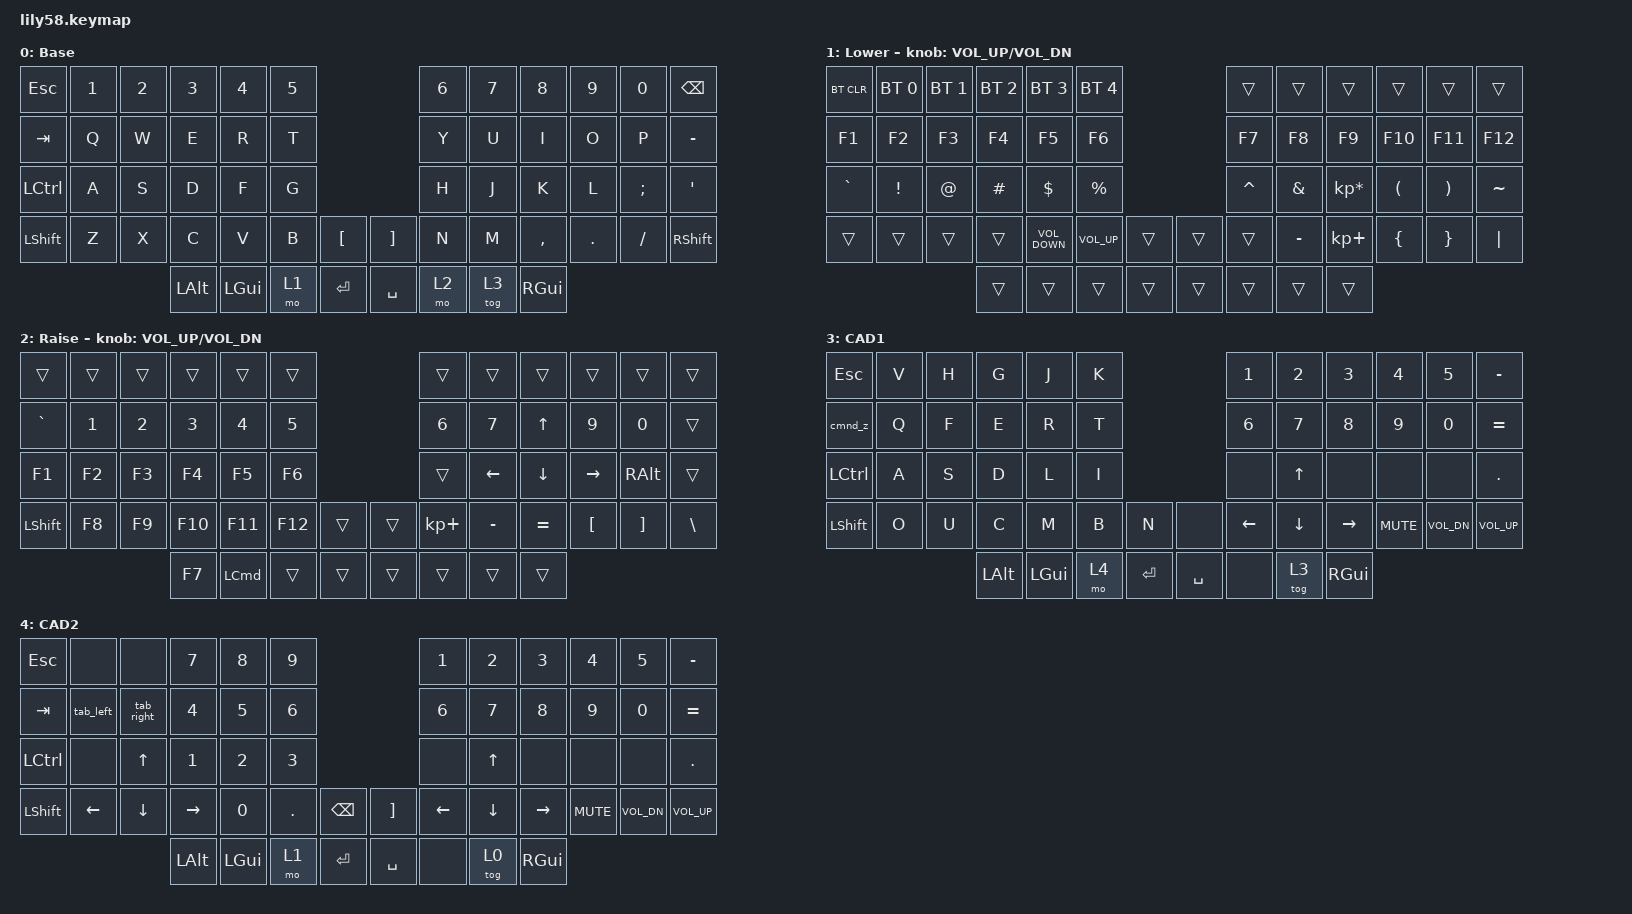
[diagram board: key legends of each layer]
/*
 * Copyright (c) 2020 The ZMK Contributors
 *
 * SPDX-License-Identifier: MIT
 */

#include <behaviors.dtsi>
#include <dt-bindings/zmk/bt.h>
#include <dt-bindings/zmk/keys.h>

/ {
    macros {
        cmnd_z: ctrl_z {
            compatible = "zmk,behavior-macro";
            #binding-cells = <0>;
            bindings = <&kp LG(Z)>;
            label = "CTRL_Z";
        };

        tab_right: tab_left {
            compatible = "zmk,behavior-macro";
            #binding-cells = <0>;
            bindings = <&kp LC(TAB)>;
            label = "TAB_LEFT";
        };

        tab_left: tab_right {
            compatible = "zmk,behavior-macro";
            #binding-cells = <0>;
            bindings = <&kp LS(LC(TAB))>;
            label = "TAB_RIGHT";
        };
    };

    keymap {
        compatible = "zmk,keymap";

        default_layer {
            // ------------------------------------------------------------------------------------------------------------
            // |  ESC  |  1  |  2  |  3   |  4   |  5   |                   |  6   |  7    |  8    |  9   |   0   |   `   |
            // |  TAB  |  Q  |  W  |  E   |  R   |  T   |                   |  Y   |  U    |  I    |  O   |   P   |   -   |
            // |  CTRL |  A  |  S  |  D   |  F   |  G   |                   |  H   |  J    |  K    |  L   |   ;   |   '   |
            // | SHIFT |  Z  |  X  |  C   |  V   |  B   |   "["  |  |  "]"  |  N   |  M    |  ,    |  .   |   /   | SHIFT |
            //                     | ALT  | GUI  | LOWER|  SPACE |  | ENTER | RAISE| BSPC  | GUI   |

            display-name = "Base";
            bindings = <
&kp ESC    &kp N1  &kp N2  &kp N3    &kp N4    &kp N5                          &kp N6  &kp N7  &kp N8     &kp N9   &kp N0    &kp BSPC
&kp TAB    &kp Q   &kp W   &kp E     &kp R     &kp T                           &kp Y   &kp U   &kp I      &kp O    &kp P     &kp MINUS
&kp LCTRL  &kp A   &kp S   &kp D     &kp F     &kp G                           &kp H   &kp J   &kp K      &kp L    &kp SEMI  &kp SQT
&kp LSHFT  &kp Z   &kp X   &kp C     &kp V     &kp B   &kp LBKT     &kp RBKT   &kp N   &kp M   &kp COMMA  &kp DOT  &kp FSLH  &kp RSHFT
                           &kp LALT  &kp LGUI  &mo 1   &kp ENTER    &kp SPACE  &mo 2   &tog 3  &kp RGUI
            >;
        };

        lower_layer {
            // ------------------------------------------------------------------------------------------------------------
            // | BTCLR | BT1 | BT2 |  BT3 |  BT4 |  BT5 |                   |      |       |       |      |       |       |
            // |  F1   |  F2 |  F3 |  F4  |  F5  |  F6  |                   |  F7  |  F8   |  F9   |  F10 |  F11  |  F12  |
            // |   `   |  !  |  @  |  #   |  $   |  %   |                   |  ^   |  &    |  *    |  (   |   )   |   ~   |
            // |       |     |     |      |      |      |        |  |       |      |  _    |  +    |  {   |   }   |  "|"  |
            //                     |      |      |      |        |  |       |      |       |       |

            display-name = "Lower";
            bindings = <
&bt BT_CLR  &bt BT_SEL 0  &bt BT_SEL 1  &bt BT_SEL 2  &bt BT_SEL 3       &bt BT_SEL 4                       &trans     &trans     &trans           &trans    &trans    &trans
&kp F1      &kp F2        &kp F3        &kp F4        &kp F5             &kp F6                             &kp F7     &kp F8     &kp F9           &kp F10   &kp F11   &kp F12
&kp GRAVE   &kp EXCL      &kp AT        &kp HASH      &kp DOLLAR         &kp PRCNT                          &kp CARET  &kp AMPS   &kp KP_MULTIPLY  &kp LPAR  &kp RPAR  &kp TILDE
&trans      &trans        &trans        &trans        &kp K_VOLUME_DOWN  &kp C_VOLUME_UP  &trans    &trans  &trans     &kp MINUS  &kp KP_PLUS      &kp LBRC  &kp RBRC  &kp PIPE
                                        &trans        &trans             &trans           &trans    &trans  &trans     &trans     &trans
            >;

            sensor-bindings = <&inc_dec_kp C_VOL_UP C_VOL_DN>;
        };

        raise_layer {
            // ------------------------------------------------------------------------------------------------------------
            // |       |     |     |      |      |      |                   |      |       |       |      |       |       |
            // |   `   |  1  |  2  |  3   |  4   |  5   |                   |  6   |   7   |   8   |  9   |   0   |       |
            // |   F1  |  F2 |  F3 |  F4  |  F5  |  F6  |                   |      |   <-  |   v   |  ^   |  ->   |       |
            // |   F7  |  F8 |  F9 |  F10 |  F11 |  F12 |        |  |       |  +   |   -   |   =   |  [   |   ]   |   \   |
            //                     |      |      |      |        |  |       |      |       |       |

            display-name = "Raise";
            bindings = <
&trans          &trans  &trans  &trans   &trans            &trans                     &trans       &trans     &trans     &trans     &trans         &trans
&kp GRAVE       &kp N1  &kp N2  &kp N3   &kp N4            &kp N5                     &kp N6       &kp N7     &kp UP     &kp N9     &kp N0         &trans
&kp F1          &kp F2  &kp F3  &kp F4   &kp F5            &kp F6                     &trans       &kp LEFT   &kp DOWN   &kp RIGHT  &kp RIGHT_ALT  &trans
&kp LEFT_SHIFT  &kp F8  &kp F9  &kp F10  &kp F11           &kp F12  &trans    &trans  &kp KP_PLUS  &kp MINUS  &kp EQUAL  &kp LBKT   &kp RBKT       &kp BSLH
                                &kp F7   &kp LEFT_COMMAND  &trans   &trans    &trans  &trans       &trans     &trans
            >;

            sensor-bindings = <&inc_dec_kp C_VOL_UP C_VOL_DN>;
        };

        CAD1 {
            display-name = "CAD1";
            bindings = <
&kp ESC    &kp V  &kp H  &kp G     &kp J     &kp K                          &kp N1    &kp N2    &kp N3     &kp N4      &kp N5        &kp MINUS
&cmnd_z    &kp Q  &kp F  &kp E     &kp R     &kp T                          &kp N6    &kp N7    &kp N8     &kp N9      &kp N0        &kp EQUAL
&kp LCTRL  &kp A  &kp S  &kp D     &kp L     &kp I                          &none     &kp UP    &none      &none       &none         &kp PERIOD
&kp LSHFT  &kp O  &kp U  &kp C     &kp M     &kp B  &kp N        &none      &kp LEFT  &kp DOWN  &kp RIGHT  &kp K_MUTE  &kp C_VOL_DN  &kp C_VOL_UP
                         &kp LALT  &kp LGUI  &mo 4  &kp ENTER    &kp SPACE  &none     &tog 3    &kp RGUI
            >;
        };

        CAD2 {
            display-name = "CAD2";
            bindings = <
&kp ESC    &none      &none       &kp N7     &kp N8    &kp N9                               &kp N1    &kp N2    &kp N3     &kp N4      &kp N5        &kp MINUS
&kp TAB    &tab_left  &tab_right  &kp N4     &kp N5    &kp N6                               &kp N6    &kp N7    &kp N8     &kp N9      &kp N0        &kp EQUAL
&kp LCTRL  &none      &kp UP      &kp N1     &kp N2    &kp N3                               &none     &kp UP    &none      &none       &none         &kp PERIOD
&kp LSHFT  &kp LEFT   &kp DOWN    &kp RIGHT  &kp N0    &kp DOT  &kp BACKSPACE    &kp RBKT   &kp LEFT  &kp DOWN  &kp RIGHT  &kp K_MUTE  &kp C_VOL_DN  &kp C_VOL_UP
                                  &kp LALT   &kp LGUI  &mo 1    &kp ENTER        &kp SPACE  &none     &tog 0    &kp RGUI
            >;
        };
    };
};
